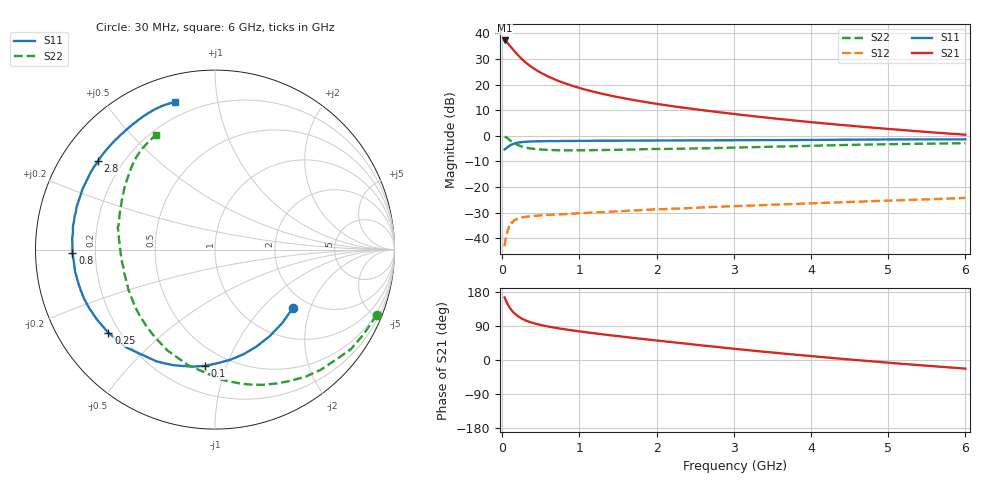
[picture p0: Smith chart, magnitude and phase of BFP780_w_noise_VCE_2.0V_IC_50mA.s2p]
! Infineon Technologies  Discrete & RF Semiconductors
! BFP780
! VCE =  2.0 V,  IC =  50 mA
! Common Emitter S-Parameters:  Jul 2015
# GHz  S  MA  R  50
!  f  S11  S21  S12  S22
! GHz  MAG  ANG  MAG  ANG  MAG  ANG  MAG  ANG
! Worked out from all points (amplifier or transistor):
!   75 points, 30 MHz to 6 GHz, reference 50 ohm
!   highest |S21| = 37.3 dB at 30 MHz (marker M1)
!   |S21| within 3 dB of that: start of sweep to 123.8 MHz
!   unconditionally stable (mu >= 1): 2.05 GHz to end of sweep
!   at 150 MHz: K = 0.12, MSG = 33.2 dB, |S12| = -33.1 dB
!   at 2.3 GHz: K = 1.08, MAG = 18.0 dB, |S12| = -28.4 dB
!   at 6 GHz: K = 1.39, MAG = 8.6 dB, |S12| = -24.3 dB
!   lowest NFmin = 1.39 dB at 450 MHz
!   S11 on the Smith chart (normalised r, x): 30 MHz: 1.65, -1.53; 100 MHz: 0.38, -0.84; 250 MHz: 0.16, -0.34; 800 MHz: 0.11, -0.01; 2.8 GHz: 0.11, +0.33; 6 GHz: 0.13, +0.76
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0.03  0.5425 -37.0  72.9 165.1  0.007 75.5  0.972 -22.0
0.05  0.5703 -57.6  69.19 155.5  0.0114 65.8  0.9388 -36.2
0.06  0.5876 -66.8  67 151.4  0.0119 62.7  0.9101 -42.6
0.08  0.6199 -82.2  62.16 143.7  0.015 58.9  0.8694 -54.5
0.1  0.6502 -95.1  57.13 137.1  0.0175 50.7  0.8219 -65.1
0.12  0.6733 -105.6  52.44 131.4  0.0202 45.3  0.7796 -74.8
0.15  0.7031 -117.8  46.23 124.5  0.0221 40.6  0.7264 -87.0
0.2  0.7355 -132.1  37.95 115.9  0.0242 33.3  0.6616 -103.0
0.25  0.7534 -142.0  31.91 109.5  0.0255 29.4  0.6212 -115.2
0.3  0.7642 -149.3  27.28 104.7  0.0261 26.3  0.5912 -124.8
0.35  0.7729 -154.9  23.78 100.7  0.0267 24.6  0.5713 -132.4
0.45  0.7815 -162.9  18.84 94.8  0.0275 21.5  0.5486 -143.6
0.6  0.7891 -171.1  14.28 88.1  0.0286 19.4  0.5314 -155.1
0.8  0.7943 -178.6  10.75 81.3  0.0296 18.9  0.5226 -165.1
1.1  0.7974 173.1  7.806 72.8  0.0313 19.0  0.5227 -175.2
1.5  0.8033 164.7  5.698 63.0  0.0336 19.7  0.5335 175.8
2.1  0.8116 154.1  3.999 49.2  0.037 19.7  0.5538 165.8
2.8  0.8181 142.8  2.903 34.0  0.0412 19.1  0.5788 154.7
3.1  0.8213 138.2  2.568 27.7  0.0428 18.5  0.5935 150.3
4.1  0.8335 124.3  1.793 8.5  0.0486 16.3  0.6436 137.6
5.1  0.8506 113.2  1.328 -8.7  0.0549 12.7  0.6894 126.7
6  0.8525 105.2  1.051 -22.8  0.0613 8.4  0.719 117.1
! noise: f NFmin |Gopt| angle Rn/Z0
0.45  1.39  0.42  -177  0.07
0.9  1.42  0.4  -172  0.08
1.5  1.49  0.47  -163  0.08
1.8  1.66  0.48  -159  0.09
2.4  1.79  0.49  -150  0.12
3  2.06  0.53  -140  0.17
3.5  2.54  0.67  -126  0.26
